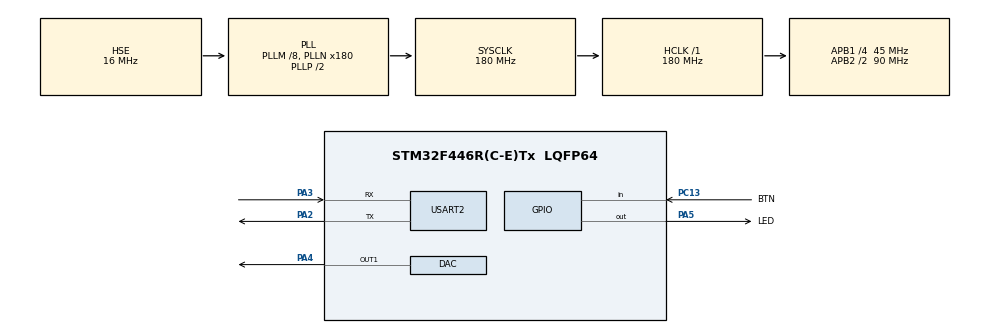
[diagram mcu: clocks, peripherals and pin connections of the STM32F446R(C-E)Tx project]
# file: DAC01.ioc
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ARM.CMSIS.5.6.0.CMSISJjCORE=true
ARM.CMSIS.5.6.0.CMSISJjDSP=Library
DAC.DAC_Trigger=DAC_TRIGGER_T6_TRGO
Dma.DAC1.0.Direction=DMA_MEMORY_TO_PERIPH
Dma.DAC1.0.FIFOMode=DMA_FIFOMODE_DISABLE
Dma.DAC1.0.Instance=DMA1_Stream5
Dma.DAC1.0.MemDataAlignment=DMA_MDATAALIGN_HALFWORD
Dma.DAC1.0.MemInc=DMA_MINC_ENABLE
Dma.DAC1.0.Mode=DMA_CIRCULAR
Dma.DAC1.0.PeriphDataAlignment=DMA_PDATAALIGN_HALFWORD
Dma.DAC1.0.PeriphInc=DMA_PINC_DISABLE
Dma.DAC1.0.Priority=DMA_PRIORITY_LOW
Dma.Request0=DAC1
Mcu.Family=STM32F4
Mcu.Name=STM32F446R(C-E)Tx
Mcu.Package=LQFP64
NVIC.DMA1_Stream5_IRQn=true\:0\:0\:false\:false\:true\:false\:true\:true
NVIC.PriorityGroup=NVIC_PRIORITYGROUP_4
NVIC.TIM6_DAC_IRQn=true\:0\:0\:false\:false\:true\:true\:true\:true
PA13.Mode=Trace_Asynchronous_SW
PA13.Signal=SYS_JTMS-SWDIO
PA14.Mode=Trace_Asynchronous_SW
PA14.Signal=SYS_JTCK-SWCLK
PA2.Mode=Asynchronous
PA2.Signal=USART2_TX
PA3.Mode=Asynchronous
PA3.Signal=USART2_RX
PA4.Signal=COMP_DAC1_group
PA5.GPIO_Label=LED
PA5.GPIO_ModeDefaultOutputPP=GPIO_MODE_OUTPUT_PP
PA5.GPIO_PuPd=GPIO_NOPULL
PA5.PinState=GPIO_PIN_SET
PA5.Signal=GPIO_Output
PB3.Mode=Trace_Asynchronous_SW
PB3.Signal=SYS_JTDO-SWO
PC13.GPIO_Label=BTN
PC13.Signal=GPIO_Input
PH0-OSC_IN.Mode=HSE-External-Oscillator
PH0-OSC_IN.Signal=RCC_OSC_IN
PH1-OSC_OUT.Mode=HSE-External-Oscillator
PH1-OSC_OUT.Signal=RCC_OSC_OUT
ProjectManager.HeapSize=0x200
ProjectManager.StackSize=0x400
ProjectManager.TargetToolchain=STM32CubeIDE
RCC.AHBFreq_Value=180000000
RCC.APB1CLKDivider=RCC_HCLK_DIV4
RCC.APB1Freq_Value=45000000
RCC.APB1TimFreq_Value=90000000
RCC.APB2CLKDivider=RCC_HCLK_DIV2
RCC.APB2Freq_Value=90000000
RCC.APB2TimFreq_Value=180000000
RCC.CortexFreq_Value=180000000
RCC.HCLKFreq_Value=180000000
RCC.HSE_VALUE=16000000
RCC.PLLM=8
RCC.PLLN=180
RCC.PLLSourceVirtual=RCC_PLLSOURCE_HSE
RCC.SYSCLKFreq_VALUE=180000000
RCC.SYSCLKSource=RCC_SYSCLKSOURCE_PLLCLK
RCC.USBFreq_Value=180000000
RCC.VCOOutputFreq_Value=360000000
SH.COMP_DAC1_group.0=DAC_OUT1,DAC_OUT1
TIM6.Period=10-1
TIM6.Prescaler=90-1
TIM6.TIM_MasterOutputTrigger=TIM_TRGO_UPDATE
USART2.VirtualMode=VM_ASYNC
VP_ARM.CMSIS_VS_CMSISJjCORE_5.3.0_5.6.0.Mode=CMSISJjCORE
VP_ARM.CMSIS_VS_CMSISJjDSP_1.7.0_5.6.0.Mode=CMSISJjDSP
VP_TIM6_VS_ClockSourceINT.Mode=Enable_Timer
board=custom

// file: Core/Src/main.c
/* USER CODE BEGIN Header */
/**
 ******************************************************************************
 * @file           : main.c
 * @brief          : Main program body
 ******************************************************************************
 * @attention
 *
 * Copyright (c) 2026 STMicroelectronics.
 * All rights reserved.
 *
 * This software is licensed under terms that can be found in the LICENSE file
 * in the root directory of this software component.
 * If no LICENSE file comes with this software, it is provided AS-IS.
 *
 ******************************************************************************
 */
/* USER CODE END Header */
#include "main.h"

/* USER CODE BEGIN Includes */
#include <stdlib.h>
#include <stdio.h>
#include <math.h>
#include <arm_math.h>
/* USER CODE END Includes */

/* USER CODE BEGIN PTD */
typedef struct
{
	uint16_t *buffer;
	float angle;
	float angle_change;
	float amplification;
} channel_queue_t;
/* USER CODE END PTD */

/* USER CODE BEGIN PD */
#define DMA_BUFFER_SIZE 64
#define SAMPLE_FREQ 100000
#define OUTPUT_MID 2048
/* USER CODE END PD */

DAC_HandleTypeDef hdac;
DMA_HandleTypeDef hdma_dac1;

TIM_HandleTypeDef htim6;

UART_HandleTypeDef huart2;

/* USER CODE BEGIN PV */

uint16_t dma_buffer_1[2 * DMA_BUFFER_SIZE];
uint16_t dma_buffer_2[2 * DMA_BUFFER_SIZE];

channel_queue_t dacs[2] =
		{
				{
						&dma_buffer_1[0],
						0,
						1000 * (2 * M_PI / SAMPLE_FREQ),
						0.99
				},
				{
						&dma_buffer_2[0],
						0,
						999.9 * (2 * M_PI / SAMPLE_FREQ),
						0.75
				}

		};

float two_pi = 2 * M_PI;

/* USER CODE END PV */

void SystemClock_Config(void);
static void MX_GPIO_Init(void);
static void MX_DMA_Init(void);
static void MX_USART2_UART_Init(void);
static void MX_DAC_Init(void);
static void MX_TIM6_Init(void);

/* USER CODE BEGIN 0 */
int _write(int file, char *ptr, int len)
{
	HAL_UART_Transmit(&huart2, (uint8_t*) ptr, len, HAL_MAX_DELAY);
	return len;
}

void process_buffer(channel_queue_t *channel)
{
	for (int i = 0; i < DMA_BUFFER_SIZE; ++i)
	{
		channel->buffer[i] = OUTPUT_MID - (channel->amplification * (OUTPUT_MID * arm_cos_f32(channel->angle)));

		channel->angle += channel->angle_change;

		if (channel->angle >= two_pi)
		{
			channel->angle -= two_pi;
		}
	}
}

void HAL_DAC_ConvHalfCpltCallbackCh1(DAC_HandleTypeDef *hdac)
{
	dacs[0].buffer = &dma_buffer_1[0];
	process_buffer(&dacs[0]);
}

void HAL_DAC_ConvCpltCallbackCh1(DAC_HandleTypeDef *hdac)
{
	dacs[0].buffer = &dma_buffer_1[DMA_BUFFER_SIZE];
	process_buffer(&dacs[0]);
}

void HAL_DACEx_ConvHalfCpltCallbackCh2(DAC_HandleTypeDef *hdac)
{
	dacs[1].buffer = &dma_buffer_2[0];
	process_buffer(&dacs[1]);
}

void HAL_DACEx_ConvCpltCallbackCh2(DAC_HandleTypeDef *hdac)
{
	dacs[1].buffer = &dma_buffer_2[DMA_BUFFER_SIZE];
	process_buffer(&dacs[1]);
}

//inline void HAL_TIM_PWM_PulseFinishedCallback(TIM_HandleTypeDef *htim)
//{
//	printf("Callback hit\r\n");
//
//	if (htim->Instance == TIM6)
//	{
//		printf("Callback hit\r\n");
//		callBackCounter++;
//	}
//}

/* USER CODE END 0 */

int main(void)
{

	/* MCU Configuration--------------------------------------------------------*/

	/* Reset of all peripherals, Initializes the Flash interface and the Systick. */
	HAL_Init();

	/* Configure the system clock */
	SystemClock_Config();

	/* Initialize all configured peripherals */
	MX_GPIO_Init();
	MX_DMA_Init();
	MX_USART2_UART_Init();
	MX_DAC_Init();
	MX_TIM6_Init();
	/* USER CODE BEGIN 2 */
	printf("\r\n\r\n\r\nStarting DAC01...\r\n");

	HAL_TIM_Base_Start_IT(&htim6);

	HAL_DAC_Start_DMA(&hdac, DAC1_CHANNEL_1, (uint32_t*) &dma_buffer_1, 2 * DMA_BUFFER_SIZE, DAC_ALIGN_12B_R);
	/* USER CODE END 2 */

	/* Infinite loop */
	/* USER CODE BEGIN WHILE */

	uint32_t now = 0;
	uint32_t loop_cnt = 0;
	uint32_t next_blink = 500;
	uint32_t next_tick = 1000;
	uint32_t callBackCounter = 0;

	while (1)
	{
		now = uwTick; // number of milliseconds since power on or reset

		if (now >= next_blink)
		{
			HAL_GPIO_TogglePin(LED_GPIO_Port, LED_Pin);

			next_blink = now + 500;

		}

		if (now >= next_tick)
		{
			printf("Tick: %lu (Loop Count: %lu Callback: %lu)\r\n", now / 1000, loop_cnt, callBackCounter);

			loop_cnt = 0;

			next_tick = now + 1000;

		}

		++loop_cnt;

		/* USER CODE END WHILE */

	}
}

void SystemClock_Config(void)
{
	RCC_OscInitTypeDef RCC_OscInitStruct =
			{ 0 };
	RCC_ClkInitTypeDef RCC_ClkInitStruct =
			{ 0 };

	/** Configure the main internal regulator output voltage
	 */
	__HAL_RCC_PWR_CLK_ENABLE();
	__HAL_PWR_VOLTAGESCALING_CONFIG(PWR_REGULATOR_VOLTAGE_SCALE1);

	/** Initializes the RCC Oscillators according to the specified parameters
	 * in the RCC_OscInitTypeDef structure.
	 */
	RCC_OscInitStruct.OscillatorType = RCC_OSCILLATORTYPE_HSE;
	RCC_OscInitStruct.HSEState = RCC_HSE_ON;
	RCC_OscInitStruct.PLL.PLLState = RCC_PLL_ON;
	RCC_OscInitStruct.PLL.PLLSource = RCC_PLLSOURCE_HSE;
	RCC_OscInitStruct.PLL.PLLM = 8;
	RCC_OscInitStruct.PLL.PLLN = 180;
	RCC_OscInitStruct.PLL.PLLP = RCC_PLLP_DIV2;
	RCC_OscInitStruct.PLL.PLLQ = 2;
	RCC_OscInitStruct.PLL.PLLR = 2;
	if (HAL_RCC_OscConfig(&RCC_OscInitStruct) != HAL_OK)
	{
		Error_Handler();
	}

	/** Activate the Over-Drive mode
	 */
	if (HAL_PWREx_EnableOverDrive() != HAL_OK)
	{
		Error_Handler();
	}

	/** Initializes the CPU, AHB and APB buses clocks
	 */
	RCC_ClkInitStruct.ClockType = RCC_CLOCKTYPE_HCLK | RCC_CLOCKTYPE_SYSCLK
			| RCC_CLOCKTYPE_PCLK1 | RCC_CLOCKTYPE_PCLK2;
	RCC_ClkInitStruct.SYSCLKSource = RCC_SYSCLKSOURCE_PLLCLK;
	RCC_ClkInitStruct.AHBCLKDivider = RCC_SYSCLK_DIV1;
	RCC_ClkInitStruct.APB1CLKDivider = RCC_HCLK_DIV4;
	RCC_ClkInitStruct.APB2CLKDivider = RCC_HCLK_DIV2;

	if (HAL_RCC_ClockConfig(&RCC_ClkInitStruct, FLASH_LATENCY_5) != HAL_OK)
	{
		Error_Handler();
	}
}

static void MX_DAC_Init(void)
{

	DAC_ChannelConfTypeDef sConfig =
			{ 0 };

	/** DAC Initialization
	 */
	hdac.Instance = DAC;
	if (HAL_DAC_Init(&hdac) != HAL_OK)
	{
		Error_Handler();
	}

	/** DAC channel OUT1 config
	 */
	sConfig.DAC_Trigger = DAC_TRIGGER_T6_TRGO;
	sConfig.DAC_OutputBuffer = DAC_OUTPUTBUFFER_ENABLE;
	if (HAL_DAC_ConfigChannel(&hdac, &sConfig, DAC_CHANNEL_1) != HAL_OK)
	{
		Error_Handler();
	}

}

static void MX_TIM6_Init(void)
{

	TIM_MasterConfigTypeDef sMasterConfig =
			{ 0 };

	htim6.Instance = TIM6;
	htim6.Init.Prescaler = 90 - 1;
	htim6.Init.CounterMode = TIM_COUNTERMODE_UP;
	htim6.Init.Period = 10 - 1;
	htim6.Init.AutoReloadPreload = TIM_AUTORELOAD_PRELOAD_DISABLE;
	if (HAL_TIM_Base_Init(&htim6) != HAL_OK)
	{
		Error_Handler();
	}
	sMasterConfig.MasterOutputTrigger = TIM_TRGO_UPDATE;
	sMasterConfig.MasterSlaveMode = TIM_MASTERSLAVEMODE_DISABLE;
	if (HAL_TIMEx_MasterConfigSynchronization(&htim6, &sMasterConfig) != HAL_OK)
	{
		Error_Handler();
	}

}

static void MX_USART2_UART_Init(void)
{

	huart2.Instance = USART2;
	huart2.Init.BaudRate = 115200;
	huart2.Init.WordLength = UART_WORDLENGTH_8B;
	huart2.Init.StopBits = UART_STOPBITS_1;
	huart2.Init.Parity = UART_PARITY_NONE;
	huart2.Init.Mode = UART_MODE_TX_RX;
	huart2.Init.HwFlowCtl = UART_HWCONTROL_NONE;
	huart2.Init.OverSampling = UART_OVERSAMPLING_16;
	if (HAL_UART_Init(&huart2) != HAL_OK)
	{
		Error_Handler();
	}

}

static void MX_DMA_Init(void)
{

	/* DMA controller clock enable */
	__HAL_RCC_DMA1_CLK_ENABLE();

	/* DMA interrupt init */
	/* DMA1_Stream5_IRQn interrupt configuration */
	HAL_NVIC_SetPriority(DMA1_Stream5_IRQn, 0, 0);
	HAL_NVIC_EnableIRQ(DMA1_Stream5_IRQn);

}

static void MX_GPIO_Init(void)
{
	GPIO_InitTypeDef GPIO_InitStruct =
			{ 0 };

	/* GPIO Ports Clock Enable */
	__HAL_RCC_GPIOC_CLK_ENABLE();
	__HAL_RCC_GPIOH_CLK_ENABLE();
	__HAL_RCC_GPIOA_CLK_ENABLE();
	__HAL_RCC_GPIOB_CLK_ENABLE();

	/*Configure GPIO pin Output Level */
	HAL_GPIO_WritePin(LED_GPIO_Port, LED_Pin, GPIO_PIN_SET);

	/*Configure GPIO pin : BTN_Pin */
	GPIO_InitStruct.Pin = BTN_Pin;
	GPIO_InitStruct.Mode = GPIO_MODE_INPUT;
	GPIO_InitStruct.Pull = GPIO_NOPULL;
	HAL_GPIO_Init(BTN_GPIO_Port, &GPIO_InitStruct);

	/*Configure GPIO pin : LED_Pin */
	GPIO_InitStruct.Pin = LED_Pin;
	GPIO_InitStruct.Mode = GPIO_MODE_OUTPUT_PP;
	GPIO_InitStruct.Pull = GPIO_NOPULL;
	GPIO_InitStruct.Speed = GPIO_SPEED_FREQ_LOW;
	HAL_GPIO_Init(LED_GPIO_Port, &GPIO_InitStruct);

}

void Error_Handler(void)
{
	__disable_irq();
	while (1)
	{
	}
}
